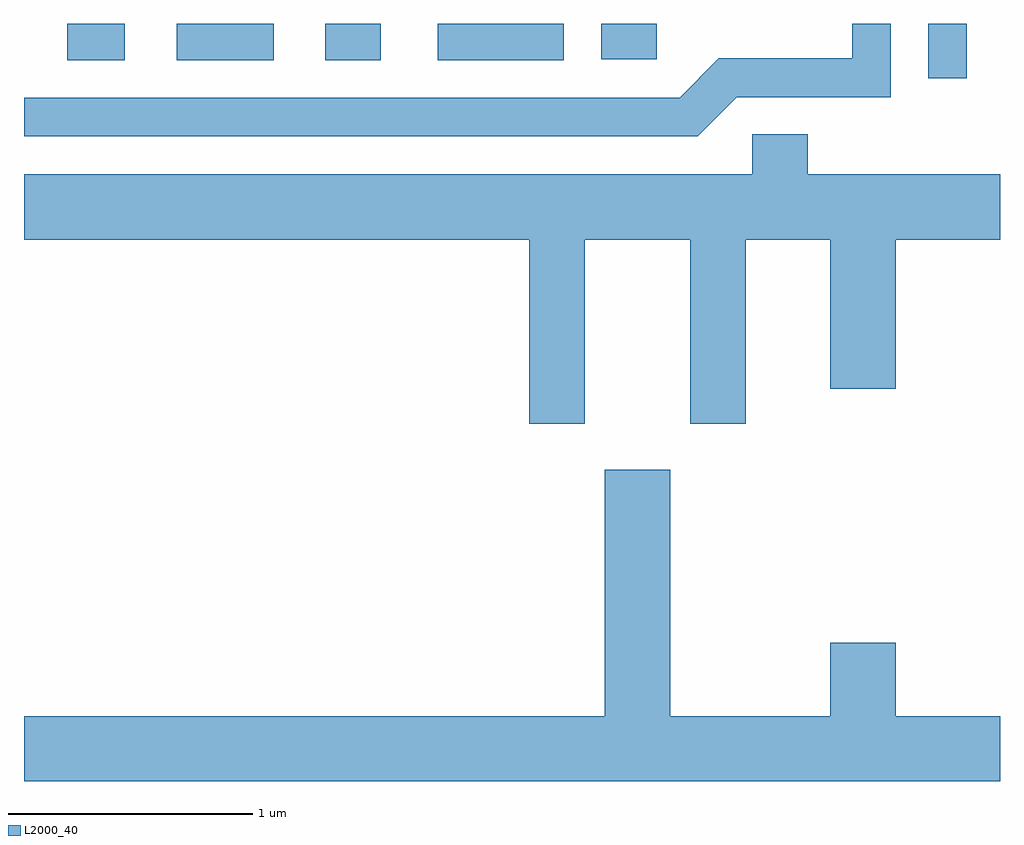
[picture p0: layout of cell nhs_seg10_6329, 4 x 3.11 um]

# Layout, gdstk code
import gdstk
lib = gdstk.Library(unit=1e-6, precision=1e-09)
def R(c, l, rs):  # rectangles x0, y0, x1, y1
    for r in rs: c.add(gdstk.rectangle(r[:2], r[2:], *l))
def P(c, l, *ps):  # polygons
    for p in ps: c.add(gdstk.Polygon(p, *l))
L2000_40 = (2000, 40)

nhs_seg10_6329 = lib.new_cell('nhs_seg10_6329')
R(nhs_seg10_6329, L2000_40, [(375.316,2172.298,375.474,2172.522), (371.788,2172.371,372.024,2172.522), (372.238,2172.371,372.634,2172.522), (372.846,2172.371,373.074,2172.522), (373.306,2172.371,373.824,2172.522), (373.976,2172.376,374.204,2172.522)])
P(nhs_seg10_6329, L2000_40, [(374.532,2172.221),(375.164,2172.221),(375.164,2172.522),(375.006,2172.522),(375.006,2172.379),(374.459,2172.379),(374.299,2172.219),(371.611,2172.219),(371.611,2172.061),(374.372,2172.061)],
  [(373.909,2171.636),(374.341,2171.636),(374.341,2170.881),(374.569,2170.881),(374.569,2171.636),(374.916,2171.636),(374.916,2171.026),(375.184,2171.026),(375.184,2171.636),(375.611,2171.636),(375.611,2171.904),(374.824,2171.904),(374.824,2172.069),(374.596,2172.069),(374.596,2171.904),(371.611,2171.904),(371.611,2171.636),(373.681,2171.636),(373.681,2170.881),(373.909,2170.881)],
  [(375.611,2169.684),(375.184,2169.684),(375.184,2169.984),(374.916,2169.984),(374.916,2169.684),(374.259,2169.684),(374.259,2170.694),(373.991,2170.694),(373.991,2169.684),(371.611,2169.684),(371.611,2169.416),(375.611,2169.416)])

lib.write_gds('nhs_seg10_6329.gds')
